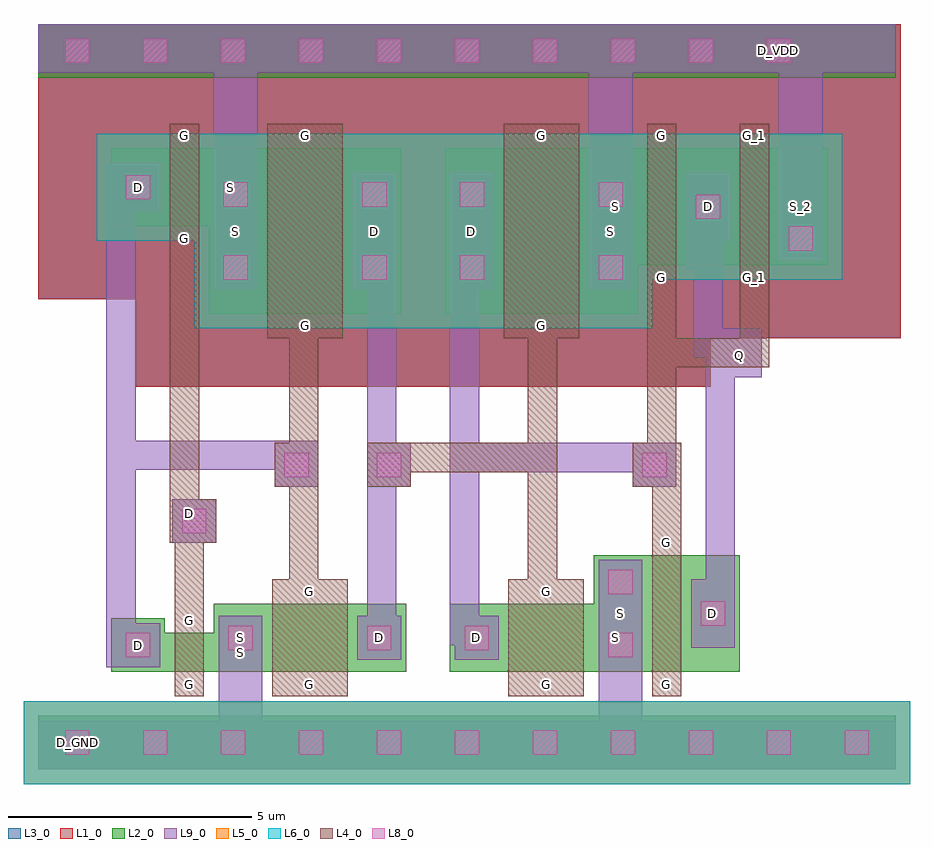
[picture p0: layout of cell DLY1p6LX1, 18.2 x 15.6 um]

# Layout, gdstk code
import gdstk
lib = gdstk.Library(unit=1e-6, precision=1e-09)
def R(c, l, rs):  # rectangles x0, y0, x1, y1
    for r in rs: c.add(gdstk.rectangle(r[:2], r[2:], *l))
def A(c, l, x, y, w, h, nx, ny, dx, dy):  # array of equal rectangles
    R(c, l, [(x+i*dx, y+j*dy, x+i*dx+w, y+j*dy+h) for i in range(nx) for j in range(ny)])
def P(c, l, *ps):  # polygons
    for p in ps: c.add(gdstk.Polygon(p, *l))
L1_0 = (1, 0)
L2_0 = (2, 0)
L3_0 = (3, 0)
L4_0 = (4, 0)
L5_0 = (5, 0)
L6_0 = (6, 0)
L8_0 = (8, 0)
L9_0 = (9, 0)

dly1p6lx1 = lib.new_cell('DLY1p6LX1')
R(dly1p6lx1, L1_0, [(2,7.85,8.95,14.25), (6.85,7.85,13.8,14.25), (9.8,8.85,17.7,14.25), (0,9.65,6,14.25), (0,9.65,16,15.3), (16,13.6,17.7,15.3)])
A(dly1p6lx1, L2_0, 11.3, 10.35, 1.1, 2.4, 3, 1, 1.9, 0)
R(dly1p6lx1, L2_0, [(0,0,17.6,1.1), (1.5,2,2.6,3.1), (2.6,2,3.6,2.8), (3.6,2,4.7,2.8), (3.6,2,4.7,3.4), (4.7,2,6.45,3.4), (6.45,2,7.55,3.4), (8.45,2,9.55,3.4), (9.55,2,11.3,3.4), (11.3,2,12.4,3.4), (11.4,2,12.5,3.1), (11.4,2,12.5,4.4), (12.5,2,13.3,4.4), (13.3,2,14.4,4.4), (11.4,3.3,12.5,4.4), (3.5,9.35,4.6,12.75), (4.6,9.35,6.35,12.75), (6.35,9.35,7.45,12.75), (8.35,9.35,9.45,12.75), (9.45,9.35,11.2,12.75), (11.2,9.35,12.3,12.75), (12.4,10.35,13.2,12.75), (14.3,10.35,15.1,12.75), (15.1,10.35,16.2,11.45), (1.5,11.15,2.6,12.75), (2.6,11.15,3.4,12.75), (3.4,11.15,4.5,12.75), (0,14.2,17.6,15.3)])
R(dly1p6lx1, L3_0, [(2,7.85,8.95,14.25), (6.85,7.85,13.8,14.25), (9.8,8.85,17.7,14.25), (0,9.65,6,14.25), (0,9.65,16,15.3), (15.95,13.6,17.7,15.3)])
R(dly1p6lx1, L4_0, [(2.8,1.5,3.4,3.3), (2.8,1.5,3.4,2), (4.8,1.5,6.35,3.9), (4.8,1.5,6.35,2), (9.65,1.5,11.2,3.9), (9.65,1.5,11.2,2), (12.6,1.5,13.2,2), (12.6,1.5,13.2,4.9), (2.8,2.8,3.4,3.3), (5.15,3.1,5.75,9.05), (10.05,3.3,10.65,9.2), (4.8,3.4,6.35,3.9), (9.65,3.4,11.2,3.9), (12.6,4.4,13.2,4.9), (12.6,4.6,13.2,6.7), (2.7,4.65,2.8,4.8), (2.75,4.65,3.65,5.55), (4.85,5.8,5.75,6.7), (6.75,5.8,7.65,6.7), (12.2,5.8,13.1,6.7), (12.5,5.8,13.1,10), (6.75,6.1,10.65,6.7), (12.5,8.25,15,8.85), (14.4,8.25,15,10.15), (4.7,8.85,6.25,9.35), (4.7,8.85,6.25,13.25), (9.55,8.85,11.1,9.35), (9.55,8.85,11.1,13.25), (12.5,9.85,13.1,10.35), (12.5,9.85,13.1,13.25), (14.4,9.85,15,10.35), (14.4,9.85,15,13.25), (2.7,10.65,3.3,11.15), (2.7,10.65,3.3,13.25), (2.7,12.75,3.3,13.25), (4.7,12.75,6.25,13.25), (9.55,12.75,11.1,13.25), (12.5,12.75,13.1,13.25), (14.4,12.75,15,13.25)])
P(dly1p6lx1, L4_0, [(2.7,4.8),(2.8,4.8),(2.8,2.8),(3.4,2.8),(3.4,5.4),(3.3,5.4),(3.3,11.4),(2.7,11.4)])
R(dly1p6lx1, L5_0, [(-0.3,-0.3,17.9,1.4), (3.2,9.05,7.75,13.05), (7.6,9.05,8.3,13.05), (8.05,9.05,12.6,13.05), (11,10.05,16.5,13.05), (1.2,10.85,4.8,13.05)])
R(dly1p6lx1, L6_0, [(-0.3,-0.3,17.9,1.4), (3.2,9.05,7.75,13.05), (7.6,9.05,8.15,13.05), (8.05,9.05,12.6,13.05), (11,10.05,16.5,13.05), (1.2,10.85,4.8,13.05)])
A(dly1p6lx1, L8_0, 0.55, 0.3, 0.5, 0.5, 11, 1, 1.6, 0)
A(dly1p6lx1, L8_0, 0.55, 14.5, 0.5, 0.5, 10, 1, 1.6, 0)
R(dly1p6lx1, L8_0, [(1.8,2.3,2.3,2.8), (11.7,2.3,12.2,2.8), (3.9,2.45,4.4,2.95), (6.75,2.45,7.25,2.95), (8.75,2.45,9.25,2.95), (13.6,2.95,14.1,3.45), (11.7,3.6,12.2,4.1), (2.95,4.85,3.45,5.35), (5.05,6,5.55,6.5), (6.95,6,7.45,6.5), (12.4,6,12.9,6.5), (3.8,10.05,4.3,10.55), (6.65,10.05,7.15,10.55), (8.65,10.05,9.15,10.55), (11.5,10.05,12,10.55), (15.4,10.65,15.9,11.15), (13.5,11.3,14,11.8), (3.8,11.55,4.3,12.05), (6.65,11.55,7.15,12.05), (8.65,11.55,9.15,12.05), (11.5,11.55,12,12.05), (1.8,11.7,2.3,12.2)])
R(dly1p6lx1, L9_0, [(0,0,17.6,1), (0.5,0.25,1.1,0.85), (3.7,0.55,4.6,2.6), (11.5,0.55,12.4,2.2), (1.4,2.1,2,12.45), (1.6,2.1,2.5,3), (11.5,2.1,12.4,3), (3.7,2.25,4.6,3.15), (6.55,2.25,7.45,3.15), (8.55,2.25,9.45,3.15), (11.5,2.5,12.4,3.4), (13.4,2.5,14.3,3.9), (13.7,2.5,14.3,6.2), (6.75,2.55,7.35,10.1), (11.5,3.4,12.4,4.3), (2.75,4.65,3.65,5.55), (2.8,4.95,3.4,5.55), (4.85,5.8,5.75,6.7), (6.75,5.8,7.65,6.7), (12.2,5.8,13.1,6.7), (8.45,6.1,13.1,6.7), (1.6,6.15,5.75,6.75), (13.95,8.05,14.85,8.95), (14.1,8.2,14.7,8.8), (14.3,8.6,14.85,9.05), (3.6,9.85,4.5,12.25), (6.45,9.85,7.35,12.25), (8.45,9.85,9.35,12.25), (11.3,9.85,12.2,12.25), (3.6,10.2,4.5,14.6), (11.3,10.2,12.2,14.9), (15.2,10.45,16.1,11.35), (15.2,10.45,16.1,15.25), (13.3,10.85,14.2,12.25), (1.6,11.45,2.5,12.45), (0,14.3,17.6,15.3), (14.9,14.45,15.5,15.05)])
P(dly1p6lx1, L9_0, [(8.45,2.55),(9.15,2.55),(9.15,3.15),(9.05,3.15),(9.05,10.15),(8.45,10.15)],
  [(13.3,10.25),(13.45,10.25),(13.45,8.45),(13.7,8.45),(13.7,5.9),(14.3,5.9),(14.3,9.05),(14.05,9.05),(14.05,10.85),(13.9,10.85),(13.9,11.1),(13.3,11.1)])
dly1p6lx1.add(gdstk.Label('G', (3.1,1.752), layer=4, texttype=0))
dly1p6lx1.add(gdstk.Label('G', (3.1,3.052), layer=4, texttype=0))
dly1p6lx1.add(gdstk.Label('S', (4.151,2.401), layer=2, texttype=0))
dly1p6lx1.add(gdstk.Label('D', (2.051,2.551), layer=9, texttype=0))
dly1p6lx1.add(gdstk.Label('G', (5.575,1.752), layer=4, texttype=0))
dly1p6lx1.add(gdstk.Label('G', (5.575,3.652), layer=4, texttype=0))
dly1p6lx1.add(gdstk.Label('S', (4.149,2.701), layer=9, texttype=0))
dly1p6lx1.add(gdstk.Label('D', (6.999,2.701), layer=9, texttype=0))
dly1p6lx1.add(gdstk.Label('G', (10.425,1.752), layer=4, texttype=0))
dly1p6lx1.add(gdstk.Label('G', (10.425,3.652), layer=4, texttype=0))
dly1p6lx1.add(gdstk.Label('S', (11.851,2.701), layer=2, texttype=0))
dly1p6lx1.add(gdstk.Label('D', (9.001,2.701), layer=9, texttype=0))
dly1p6lx1.add(gdstk.Label('G', (5.475,9.102), layer=4, texttype=0))
dly1p6lx1.add(gdstk.Label('G', (5.475,13.002), layer=4, texttype=0))
dly1p6lx1.add(gdstk.Label('S', (4.049,11.051), layer=9, texttype=0))
dly1p6lx1.add(gdstk.Label('D', (6.899,11.051), layer=9, texttype=0))
dly1p6lx1.add(gdstk.Label('G', (10.325,9.102), layer=4, texttype=0))
dly1p6lx1.add(gdstk.Label('G', (10.325,13.002), layer=4, texttype=0))
dly1p6lx1.add(gdstk.Label('S', (11.751,11.051), layer=9, texttype=0))
dly1p6lx1.add(gdstk.Label('D', (8.901,11.051), layer=9, texttype=0))
dly1p6lx1.add(gdstk.Label('G', (3,10.902), layer=4, texttype=0))
dly1p6lx1.add(gdstk.Label('G', (3,13.002), layer=4, texttype=0))
dly1p6lx1.add(gdstk.Label('S', (3.951,11.951), layer=2, texttype=0))
dly1p6lx1.add(gdstk.Label('D', (2.051,11.951), layer=9, texttype=0))
dly1p6lx1.add(gdstk.Label('G', (12.9,1.752), layer=4, texttype=0))
dly1p6lx1.add(gdstk.Label('G', (12.9,4.652), layer=4, texttype=0))
dly1p6lx1.add(gdstk.Label('S', (11.949,3.201), layer=2, texttype=0))
dly1p6lx1.add(gdstk.Label('D', (13.849,3.201), layer=9, texttype=0))
dly1p6lx1.add(gdstk.Label('G', (12.8,10.102), layer=4, texttype=0))
dly1p6lx1.add(gdstk.Label('G', (12.8,13.002), layer=4, texttype=0))
dly1p6lx1.add(gdstk.Label('G_1', (14.7,10.102), layer=4, texttype=0))
dly1p6lx1.add(gdstk.Label('G_1', (14.7,13.002), layer=4, texttype=0))
dly1p6lx1.add(gdstk.Label('S', (11.849,11.551), layer=2, texttype=0))
dly1p6lx1.add(gdstk.Label('D', (13.749,11.551), layer=9, texttype=0))
dly1p6lx1.add(gdstk.Label('S_2', (15.649,11.55), layer=2, texttype=0))
dly1p6lx1.add(gdstk.Label('D_VDD', (15.2,14.75), layer=50, texttype=0))
dly1p6lx1.add(gdstk.Label('D_GND', (0.8,0.55), layer=50, texttype=0))
dly1p6lx1.add(gdstk.Label('D', (3.1,5.25), layer=50, texttype=0))
dly1p6lx1.add(gdstk.Label('Q', (14.4,8.5), layer=50, texttype=0))

lib.write_gds('DLY1p6LX1.gds')
